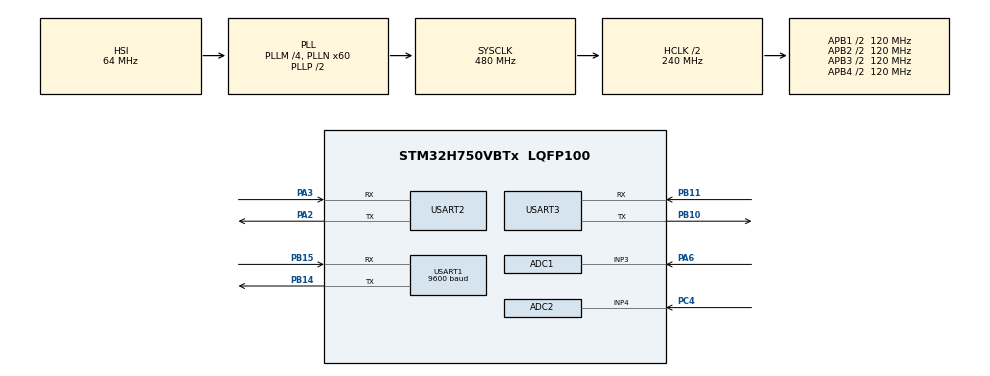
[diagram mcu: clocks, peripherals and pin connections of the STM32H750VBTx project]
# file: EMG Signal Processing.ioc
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ADC1.Channel-2\#ChannelRegularConversion=ADC_CHANNEL_3
ADC1.ContinuousConvMode=ENABLE
ADC1.ConversionDataManagement=ADC_CONVERSIONDATA_DMA_CIRCULAR
ADC1.DMAAccessModeView=ENABLE
ADC1.ExternalTrigConv=ADC_EXTERNALTRIG_T8_TRGO
ADC1.Mode=ADC_DUALMODE_REGSIMULT
ADC1.NbrOfConversionFlag=1
ADC1.OffsetNumber-2\#ChannelRegularConversion=ADC_OFFSET_NONE
ADC1.OffsetSignedSaturation-2\#ChannelRegularConversion=DISABLE
ADC1.Rank-2\#ChannelRegularConversion=1
ADC1.SamplingTime-2\#ChannelRegularConversion=ADC_SAMPLETIME_1CYCLE_5
ADC1.master=1
ADC2.Channel-3\#ChannelRegularConversion=ADC_CHANNEL_4
ADC2.DMAAccessModeView=ENABLE
ADC2.Mode=ADC_DUALMODE_REGSIMULT
ADC2.NbrOfConversionFlag=1
ADC2.OffsetNumber-3\#ChannelRegularConversion=ADC_OFFSET_NONE
ADC2.OffsetSignedSaturation-3\#ChannelRegularConversion=DISABLE
ADC2.Rank-3\#ChannelRegularConversion=1
ADC2.SamplingTime-3\#ChannelRegularConversion=ADC_SAMPLETIME_1CYCLE_5
ADC3.Channel-8\#ChannelRegularConversion=ADC_CHANNEL_VREFINT
ADC3.ContinuousConvMode=ENABLE
ADC3.DMAAccessModeView=ENABLE
ADC3.ExternalTrigConv=ADC_EXTERNALTRIG_T8_TRGO
ADC3.Mode=ADC_DUALMODE_REGSIMULT
ADC3.NbrOfConversionFlag=1
ADC3.OffsetNumber-8\#ChannelRegularConversion=ADC_OFFSET_NONE
ADC3.OffsetSignedSaturation-8\#ChannelRegularConversion=DISABLE
ADC3.Rank-8\#ChannelRegularConversion=1
ADC3.SamplingTime-8\#ChannelRegularConversion=ADC_SAMPLETIME_1CYCLE_5
Bdma.ADC3.0.Direction=DMA_PERIPH_TO_MEMORY
Bdma.ADC3.0.EventEnable=DISABLE
Bdma.ADC3.0.Instance=BDMA_Channel0
Bdma.ADC3.0.MemDataAlignment=DMA_MDATAALIGN_WORD
Bdma.ADC3.0.MemInc=DMA_MINC_ENABLE
Bdma.ADC3.0.Mode=DMA_CIRCULAR
Bdma.ADC3.0.PeriphDataAlignment=DMA_PDATAALIGN_WORD
Bdma.ADC3.0.PeriphInc=DMA_PINC_DISABLE
Bdma.ADC3.0.Polarity=HAL_DMAMUX_REQ_GEN_RISING
Bdma.ADC3.0.Priority=DMA_PRIORITY_LOW
Bdma.ADC3.0.RequestNumber=1
Bdma.ADC3.0.SignalID=NONE
Bdma.ADC3.0.SyncEnable=DISABLE
Bdma.ADC3.0.SyncPolarity=HAL_DMAMUX_SYNC_NO_EVENT
Bdma.ADC3.0.SyncRequestNumber=1
Bdma.ADC3.0.SyncSignalID=NONE
Bdma.Request0=ADC3
Bdma.RequestsNb=1
CORTEX_M7.default_mode_Activation=1
Dma.ADC1.0.Direction=DMA_PERIPH_TO_MEMORY
Dma.ADC1.0.EventEnable=DISABLE
Dma.ADC1.0.FIFOMode=DMA_FIFOMODE_ENABLE
Dma.ADC1.0.FIFOThreshold=DMA_FIFO_THRESHOLD_HALFFULL
Dma.ADC1.0.Instance=DMA1_Stream0
Dma.ADC1.0.MemBurst=DMA_MBURST_SINGLE
Dma.ADC1.0.MemDataAlignment=DMA_MDATAALIGN_WORD
Dma.ADC1.0.MemInc=DMA_MINC_ENABLE
Dma.ADC1.0.Mode=DMA_CIRCULAR
Dma.ADC1.0.PeriphBurst=DMA_PBURST_SINGLE
Dma.ADC1.0.PeriphDataAlignment=DMA_PDATAALIGN_WORD
Dma.ADC1.0.PeriphInc=DMA_PINC_DISABLE
Dma.ADC1.0.Polarity=HAL_DMAMUX_REQ_GEN_RISING
Dma.ADC1.0.Priority=DMA_PRIORITY_LOW
Dma.ADC1.0.RequestNumber=1
Dma.ADC1.0.SignalID=NONE
Dma.ADC1.0.SyncEnable=DISABLE
Dma.ADC1.0.SyncPolarity=HAL_DMAMUX_SYNC_NO_EVENT
Dma.ADC1.0.SyncRequestNumber=1
Dma.ADC1.0.SyncSignalID=NONE
Dma.Request0=ADC1
Mcu.Family=STM32H7
Mcu.Name=STM32H750VBTx
Mcu.Package=LQFP100
NVIC.BDMA_Channel0_IRQn=true\:0\:0\:true\:false\:true\:false\:true\:true
NVIC.DMA1_Stream0_IRQn=true\:0\:0\:false\:false\:true\:false\:true\:true
NVIC.PriorityGroup=NVIC_PRIORITYGROUP_4
NVIC.USART1_IRQn=true\:1\:0\:true\:false\:true\:true\:true\:true
NVIC.USART2_IRQn=true\:1\:0\:true\:false\:true\:true\:true\:true
NVIC.USART3_IRQn=true\:1\:0\:true\:false\:true\:true\:true\:true
PA13\ (JTMS/SWDIO).Mode=Serial_Wire
PA13\ (JTMS/SWDIO).Signal=DEBUG_JTMS-SWDIO
PA14\ (JTCK/SWCLK).Mode=Serial_Wire
PA14\ (JTCK/SWCLK).Signal=DEBUG_JTCK-SWCLK
PA2.Mode=Asynchronous
PA2.Signal=USART2_TX
PA3.Mode=Asynchronous
PA3.Signal=USART2_RX
PA6.Signal=ADCx_INP3
PB10.Mode=Asynchronous
PB10.Signal=USART3_TX
PB11.Mode=Asynchronous
PB11.Signal=USART3_RX
PB14.Mode=Asynchronous
PB14.Signal=USART1_TX
PB15.Mode=Asynchronous
PB15.Signal=USART1_RX
PC4.Signal=ADCx_INP4
PH0-OSC_IN\ (PH0).Mode=HSE-External-Oscillator
PH0-OSC_IN\ (PH0).Signal=RCC_OSC_IN
PH1-OSC_OUT\ (PH1).Mode=HSE-External-Oscillator
PH1-OSC_OUT\ (PH1).Signal=RCC_OSC_OUT
ProjectManager.HeapSize=0x200
ProjectManager.StackSize=0x400
ProjectManager.TargetToolchain=STM32CubeIDE
RCC.ADCFreq_Value=80000000
RCC.APB1Freq_Value=120000000
RCC.APB2Freq_Value=120000000
RCC.APB3Freq_Value=120000000
RCC.APB4Freq_Value=120000000
RCC.CortexFreq_Value=480000000
RCC.D1PPRE=RCC_APB3_DIV2
RCC.D2PPRE1=RCC_APB1_DIV2
RCC.D2PPRE2=RCC_APB2_DIV2
RCC.D3PPRE=RCC_APB4_DIV2
RCC.DIVM1=4
RCC.DIVM2=4
RCC.DIVN1=60
RCC.DIVN2=10
RCC.HCLKFreq_Value=240000000
RCC.HPRE=RCC_HCLK_DIV2
RCC.PLL2FRACN=0
RCC.PLL3FRACN=0
RCC.PLLFRACN=0
RCC.SYSCLKFreq_VALUE=480000000
RCC.SYSCLKSource=RCC_SYSCLKSOURCE_PLLCLK
RCC.USBFreq_Value=480000000
SH.ADCx_INP3.0=ADC1_INP3,IN3-Single-Ended
SH.ADCx_INP4.0=ADC2_INP4,IN4-Single-Ended
TIM8.AutoReloadPreload=TIM_AUTORELOAD_PRELOAD_ENABLE
TIM8.Period=500-1
TIM8.Prescaler=240-1
TIM8.TIM_MasterOutputTrigger=TIM_TRGO_UPDATE
USART1.BaudRate=9600
USART1.VirtualMode-Asynchronous=VM_ASYNC
USART2.VirtualMode-Asynchronous=VM_ASYNC
USART3.VirtualMode-Asynchronous=VM_ASYNC
VP_ADC3_Vref_Input.Mode=IN-Vrefint
VP_MEMORYMAP_VS_MEMORYMAP.Mode=CurAppReg
VP_TIM8_VS_ClockSourceINT.Mode=Internal
board=custom

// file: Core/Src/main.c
/* USER CODE BEGIN Header */
/**
 ******************************************************************************
 * @file           : main.c
 * @brief          : Main program body
 ******************************************************************************
 * @attention
 *
 * Copyright (c) 2025 STMicroelectronics.
 * All rights reserved.
 *
 * This software is licensed under terms that can be found in the LICENSE file
 * in the root directory of this software component.
 * If no LICENSE file comes with this software, it is provided AS-IS.
 *
 ******************************************************************************
 */
/* USER CODE END Header */
#include "main.h"
#include "adc.h"
#include "bdma.h"
#include "dma.h"
#include "tim.h"
#include "usart.h"
#include "gpio.h"

/* USER CODE BEGIN Includes */
#include "arm_math.h"
#include "jy901s.h"
#include "stdio.h"
#include "string.h"
/* USER CODE END Includes */

/* USER CODE BEGIN PD */
#define VREFINT 1.2f  // stm32内部参考电压
#define FFT_POINT 256 // FFT取的点数
#define FS 2000.0     // 采样率
#define PAI 3.1415926f
#define F_MIN 20.0f           // 有效频率下限
#define F_MAX 500.0f          // 有效频率上限

#define FEATURE1 20           //通道一判据
#define FEATURE2 20           //通道二判据
#define FEATURE_BUF 5         //feature_buf缓冲区大小
#define ADC_BUF_LEN FFT_POINT // DMA循环缓冲区长度=FFT点数，避免数据覆盖
#define IIR_STAGES 51         // 二阶节数量
float iir_sos_coeffs[IIR_STAGES * 5] = {
    1.0f, 0.0f, -1.0f, 0.8693764321864266f, -0.9536568122771949f,
    1.0f, 0.0f, -1.0f, 1.9864247945818152f, -0.9950821659378192f,
    1.0f, 0.0f, -1.0f, 0.8321927690588344f, -0.8672413716423795f,
    1.0f, 0.0f, -1.0f, 1.9766845753697753f, -0.9853141721013935f,
    1.0f, 0.0f, -1.0f, 0.7995116982474844f, -0.7884588794031837f,
    1.0f, 0.0f, -1.0f, 1.9670113874654054f, -0.9756280179750199f,
    1.0f, 0.0f, -1.0f, 0.770848011898446f,  -0.716535449340347f,
    1.0f, 0.0f, -1.0f, 1.957395916219848f,  -0.9660142440349393f,
    1.0f, 0.0f, -1.0f, 0.7457813082643308f, -0.6507974014896779f,
    1.0f, 0.0f, -1.0f, 1.9478296799657244f, -0.9564642770692043f,
    1.0f, 0.0f, -1.0f, 0.7239463586093481f, -0.5906576596226908f,
    1.0f, 0.0f, -1.0f, 1.9383052735176061f, -0.9469706669682229f,
    1.0f, 0.0f, -1.0f, 0.7050248651784609f, -0.5356041792878115f,
    1.0f, 0.0f, -1.0f, 1.9288166627628121f, -0.9375273720718309f,
    1.0f, 0.0f, -1.0f, 1.9193595525535816f, -0.9281301144804434f,
    1.0f, 0.0f, -1.0f, 0.6887383685610393f, -0.4851901183749884f,
    1.0f, 0.0f, -1.0f, 1.9099318548941653f, -0.9187768311736749f,
    1.0f, 0.0f, -1.0f, 0.6748420878986934f, -0.4390254967169763f,
    1.0f, 0.0f, -1.0f, 1.9005342908547407f, -0.9094682527833103f,
    1.0f, 0.0f, -1.0f, 0.6631194987885907f, -0.3967701250049715f,
    1.0f, 0.0f, -1.0f, 1.8911711678173693f, -0.9002086494961432f,
    1.0f, 0.0f, -1.0f, 0.6533774704597843f, -0.3581276142251006f,
    1.0f, 0.0f, -1.0f, 1.8818513833778256f, -0.8910067926150773f,
    1.0f, 0.0f, -1.0f, 0.6454417958013445f, -0.3228403039023611f,
    1.0f, 0.0f, -1.0f, 1.8725897176605484f, -0.8818771899701817f,
    1.0f, 0.0f, -1.0f, 0.6391529560301001f, -0.2906849701907506f,
    1.0f, 0.0f, -1.0f, 1.8634084847713721f, -0.872841661545082f,
    1.0f, 0.0f, -1.0f, 0.6343619686491586f, -0.2614691930128323f,
    1.0f, 0.0f, -1.0f, 1.8543396168114308f, -0.8639313237794735f,
    1.0f, 0.0f, -1.0f, 0.6309261780014019f, -0.2350282748009753f,
    1.0f, 0.0f, -1.0f, 1.8454272407358796f, -0.8551890379230934f,
    1.0f, 0.0f, -1.0f, 0.6287048720741699f, -0.2112226116480437f,
    1.0f, 0.0f, -1.0f, 1.8367307617996442f, -0.8466723328984768f,
    1.0f, 0.0f, -1.0f, 0.627554665149167f,  -0.1899354205654527f,
    1.0f, 0.0f, -1.0f, 1.828328357904653f,  -0.8384567085004707f,
    1.0f, 0.0f, -1.0f, 0.6273247031893548f, -0.1710707240891596f,
    1.0f, 0.0f, -1.0f, 1.8203205733050356f, -0.8306390193629837f,
    1.0f, 0.0f, -1.0f, 0.6278519713113898f, -0.154551486646574f,
    1.0f, 0.0f, -1.0f, 1.8128333273942805f, -0.8233402866066106f,
    1.0f, 0.0f, -1.0f, 0.6289573609707806f, -0.1403177890563573f,
    1.0f, 0.0f, -1.0f, 1.8060191003433543f, -0.8167067601196332f,
    1.0f, 0.0f, -1.0f, 0.6304437131227081f, -0.1283249253220003f,
    1.0f, 0.0f, -1.0f, 1.8000544068476896f, -0.8109074411314436f,
    1.0f, 0.0f, -1.0f, 0.6320977081055255f, -0.11854132175107f,
    1.0f, 0.0f, -1.0f, 1.7951312534340129f, -0.8061258863773285f,
    1.0f, 0.0f, -1.0f, 0.6336978921996432f, -0.110946228356801f,
    1.0f, 0.0f, -1.0f, 1.791440768735733f,  -0.8025445900934733f,
    1.0f, 0.0f, -1.0f, 0.6350306397948811f, -0.1055272281685702f,
    1.0f, 0.0f, -1.0f, 1.789149387958497f,  -0.800322321401026f,
    1.0f, 0.0f, -1.0f, 0.6359136608599436f, -0.1022777433785706f,
    1.0f, 0.0f, -1.0f, 1.2122973192286475f, -0.284450719896452f};

const float iir_scale_vals[IIR_STAGES] = {
    0.4804150143471112f, 0.4804150143471112f, 0.4686281482944881f,
    0.4686281482944881f, 0.4577285824460943f, 0.4577285824460943f,
    0.4476494583907268f, 0.4476494583907268f, 0.4383307501573455f,
    0.4383307501573455f, 0.4297185698995845f, 0.4297185698995845f,
    0.421764541012795f,  0.421764541012795f,  0.4144252363555915f,
    0.4144252363555915f, 0.407661677559951f,  0.407661677559951f,
    0.401438890604339f,  0.401438890604339f,  0.3957255125638296f,
    0.3957255125638296f, 0.3904934445236531f, 0.3904934445236531f,
    0.3857175459074069f, 0.3857175459074069f, 0.3813753658378775f,
    0.3813753658378775f, 0.3774469075598798f, 0.3774469075598798f,
    0.3739144223755339f, 0.3739144223755339f, 0.3707622299521401f,
    0.3707622299521401f, 0.3679765622498276f, 0.3679765622498276f,
    0.3655454286749744f, 0.3655454286749744f, 0.363458500394341f,
    0.363458500394341f,  0.3617070120445879f, 0.3617070120445879f,
    0.3602836793443729f, 0.3602836793443729f, 0.359182631364359f,
    0.359182631364359f,  0.35839935643738f,   0.35839935643738f,
    0.3579306609000651f, 0.3579306609000651f, 0.357774640051774f};

float iir_scale_value=1;

// 预处理后的IIR系数（包含增益），格式：[b0*g, b1*g, b2*g, a1, a2]
float scaled_iir_coeffs[IIR_STAGES * 5];

// 陷波滤波器系数（MATLAB生成的直接II型滤波器）
// 单个二阶节，用于FFT前的信号处理
#define NOTCH_STAGES 1 // 陷波滤波器二阶节数量
const float notch_coeffs[NOTCH_STAGES * 5] = {
    // b0, b1, b2, a1, a2
    0.999334363637892630904957513848785310984f,
    -1.974061798642416265536780883849132806063f,
    0.999334363637892630904957513848785310984f,
    1.974061798642416265536780883849132806063f, // 注意：MATLAB的a1取反
    -0.998668727275785261809915027697570621967f // 注意：MATLAB的a2取反
};
/* USER CODE END PD */

/* USER CODE BEGIN PV */
arm_biquad_casd_df1_inst_f32 iir_filter1;
arm_biquad_casd_df1_inst_f32 iir_filter2;
float emg1_filter_state[13 * IIR_STAGES] = {0}; // EMG1滤波状态
float emg2_filter_state[13 * IIR_STAGES] = {0}; // EMG2滤波状态
float emg1_filtered[FFT_POINT] ={0};          // EMG1滤波后数据
float emg2_filtered[FFT_POINT] = {0};          // EMG2滤波后数据

// 陷波滤波器实例和状态
arm_biquad_casd_df1_inst_f32 notch_filter1;
arm_biquad_casd_df1_inst_f32 notch_filter2;
float emg1_notch_state[13 * NOTCH_STAGES] = {0}; // EMG1陷波滤波状态
float emg2_notch_state[13 * NOTCH_STAGES] = {0}; // EMG2陷波滤波状态
float emg1_notch_filtered[FFT_POINT] = {0};     // EMG1陷波滤波后数据
float emg2_notch_filtered[FFT_POINT] = {0};     // EMG2陷波滤波后数据

// 汉明窗缓冲区（使用arm_hamming_f32函数生成）
float hamming_window[FFT_POINT] = {0}; // 汉明窗系数
float hamming_norm = 1.0f;             // 汉明窗归一化因子

uint16_t fft_buf_count = 0; // FFT缓冲区填充计数（0/64/128）

extern arm_cfft_instance_f32 arm_cfft_sR_f32_len128;
extern arm_cfft_instance_f32 arm_cfft_sR_f32_len64;
extern arm_cfft_instance_f32 arm_cfft_sR_f32_len256;

// 手势枚举定义
typedef enum {
  GESTURE_NONE, // 无手势
  GESTURE_FIST, // 握拳
  GESTURE_RIGHT, //
  GESTURE_LEFT //
} Gesture_TypeDef;

// ADC数据缓冲区
uint32_t adc_dual_buf[ADC_BUF_LEN]
    __attribute__((aligned(32))); // 双同步ADC1+ADC2数据
uint32_t adc3_buf[ADC_BUF_LEN] __attribute__((aligned(32)));   // ADC3（VREFINT）数据

// 采样同步标志（为半完成和完成回调分别设置独立标志）
// 半完成回调标志
uint8_t adc_dual_half_done = 0; // 双同步ADC半完成标志
uint8_t adc3_half_done = 0;     // ADC3半完成标志
// 完成回调标志
uint8_t adc_dual_cplt_done = 0; // 双同步ADC完成标志
uint8_t adc3_cplt_done = 0;     // ADC3完成标志

uint32_t values[3];               // ADC读取原始值
float vrefint = 0;                // 校准后参考电压
float voltage1 = 0, voltage2 = 0; // 两路肌电信号

// FFT相关缓冲区 - 32字节对齐以优化CMSIS-DSP性能
float emg1_buf[FFT_POINT]
    __attribute__((aligned(32))) = {0}; // EMG1的256点电压缓冲区
float emg2_buf[FFT_POINT]
    __attribute__((aligned(32))) = {0}; // EMG2的256点电压缓冲区
float fft1_in[2 * FFT_POINT]
    __attribute__((aligned(32))) = {0}; // 浮点FFT输入（实部+虚部，长度2*N）
float fft2_in[2 * FFT_POINT] __attribute__((aligned(32))) = {0};
float fft1_mag[FFT_POINT] __attribute__((aligned(32))) = {0}; // FFT幅值输出
float fft2_mag[FFT_POINT] __attribute__((aligned(32))) = {0};

// 提取到的有效频段特征值
float feature_buf1[FEATURE_BUF]={0};
float feature_buf2[FEATURE_BUF]={0};
float feat1 = 0, feat2 = 0;
Gesture_TypeDef current_gesture = GESTURE_NONE; // 当前识别的手势
char message[100] = "";

float roll=0, pitch=0, yaw=0;       // 姿态角
float acc_x, acc_y, acc_z;    // 加速度
float gyro_x, gyro_y, gyro_z; // 角速度
/* USER CODE END PV */

void SystemClock_Config(void);
void PeriphCommonClock_Config(void);
static void MPU_Config(void);

/* USER CODE BEGIN 0 */
void calc_fft(float *sample_buf, float *fft_in, float *fft_mag, uint16_t N) {
  // 构造FFT输入并应用汉明窗
  for (uint16_t n = 0; n < N; n++) {
    // 应用汉明窗以减少频谱泄漏
    fft_in[2 * n] = sample_buf[n] * hamming_window[n];
    fft_in[2 * n + 1] = 0.0f;
  }
  // 初始化并执行FFT
  arm_cfft_instance_f32 *fft_inst;
  switch (N) {
  case 128:
    fft_inst = &arm_cfft_sR_f32_len128;
    break;
  case 64:
    fft_inst = &arm_cfft_sR_f32_len64;
    break;
  case 256:
    fft_inst = &arm_cfft_sR_f32_len256;
    break;
  default:
    while (1)
      ; // 非法点数，卡死报错
  }
  arm_cfft_f32(fft_inst, fft_in, 0, 1);
  // 计算幅值
  arm_cmplx_mag_f32(fft_in, fft_mag, N);

  // 应用汉明窗归一化因子，补偿窗函数引起的能量损失
  for (uint16_t k = 0; k < N; k++) {
    fft_mag[k] *= hamming_norm;
  }
}

// 提取有效频段的功率谱密度（PSD）特征值
// 功率谱 = 幅值平方，反映频段能量
float extract_feature(float *fft_mag, uint16_t N, float fs, float f_min,
                      float f_max) {
  float sum_power = 0.0f; // 累加功率而非幅值
  // 计算有效频率对应的FFT索引范围
  uint16_t k_min = (uint16_t)(f_min * N / fs);
  uint16_t k_max = (uint16_t)(f_max * N / fs);
  // 边界保护（避免索引越界）
  k_max = (k_max >= N) ? (N - 1) : k_max;
  // 累加有效频段的功率谱密度（幅值平方）
  for (uint16_t k = k_min; k <= k_max; k++) {
    // 功率 = 幅值^2，归一化可选：/N 或 /(N^2)
    float power = fft_mag[k] * fft_mag[k];
    sum_power += power;
  }
  // 返回平均功率密度（可选归一化）
  return sum_power / (float)(k_max - k_min + 1);
}

// 判断手势，待修改
Gesture_TypeDef recognize_gesture(float feat1, float feat2) {
	static int i=0;
	feature_buf1[i]=feat1;
	feature_buf2[i]=feat2;
	i++;
	if((i+1)%FEATURE_BUF==0)
	{
		float sum1=0,sum2=0;
		for(int j=0;j<=i;j++)
		{
			sum1+=feature_buf1[j];
			sum2+=feature_buf2[j];
		}
		sum1=sum1/FEATURE_BUF;
		sum2=sum2/FEATURE_BUF;
		if(sum1>FEATURE1&&sum2>FEATURE2)
		{
			current_gesture=GESTURE_FIST;
		}
		if(sum1>FEATURE1&&sum2<FEATURE2)
		{
			current_gesture=GESTURE_RIGHT;
		}
		if(sum1<FEATURE1&&sum2>FEATURE2)
		{
			current_gesture=GESTURE_LEFT;
		}
		if(sum1<FEATURE1&&sum2<FEATURE2)
		{
			current_gesture=GESTURE_NONE;
		}
		i=0;
	}
  return current_gesture;
}

// 自定义汉明窗初始化函数
void hamming_window_init(void) {
  // 生成汉明窗系数: w[n] = 0.54 - 0.46 * cos(2π * n / (N - 1))
  for (uint16_t n = 0; n < FFT_POINT; n++) {
    float angle = 2.0f * PAI * n / (FFT_POINT - 1);
    hamming_window[n] = 0.54f - 0.46f * arm_cos_f32(angle);
  }

  // 计算归一化因子（用于补偿窗函数引起的能量损失）
  float win_sum = 0.0f;
  for (uint16_t n = 0; n < FFT_POINT; n++) {
    win_sum += hamming_window[n];
  }
  hamming_norm = 2.0f / win_sum;
}

// IIR系数预处理函数：将增益系数应用到SOS系数中，并修正符号约定
// CMSIS-DSP期望格式：[b0, b1, b2, -a1, -a2]
// 如果原始系数来自SciPy等标准工具，需要对a1和a2取反
void iir_coeffs_preprocess(void) {
  for (uint16_t i = 0; i < IIR_STAGES; i++) {
    // b0, b1, b2 乘以对应的增益系数
    scaled_iir_coeffs[i * 5 + 0] =
        iir_sos_coeffs[i * 5 + 0];// * iir_scale_vals[i];
    scaled_iir_coeffs[i * 5 + 1] =
        iir_sos_coeffs[i * 5 + 1];// * iir_scale_vals[i];
    scaled_iir_coeffs[i * 5 + 2] =
        iir_sos_coeffs[i * 5 + 2];// * iir_scale_vals[i];
    // ⚠️ 符号约定修正：CMSIS-DSP需要 -a1 和 -a2（取反）
    // 差分方程：y[n] = b0*x[n] + ... + a1*y[n-1] + a2*y[n-2]
    scaled_iir_coeffs[i * 5 + 3] = -iir_sos_coeffs[i * 5 + 3];
    scaled_iir_coeffs[i * 5 + 4] = -iir_sos_coeffs[i * 5 + 4];
  }
}

// IIR滤波函数：对整帧时域数据滤波
void iir_filter_frame(float *input, float *output, uint16_t len,
                      arm_biquad_casd_df1_inst_f32 *filter) {
  // CMSIS-DSP函数：输入数组、输出数组、长度、滤波器实例
  arm_biquad_cascade_df1_f32(filter, input, output, len);
}

/**
 * @brief  计算重心频率（Frequency Center of Gravity, FCG）
 *         功率加权的平均频率，反映EMG能量集中的频率点
 * @param  fft_mag: FFT幅值数组（输出自arm_cmplx_mag_f32）
 * @param  N: FFT点数（如256）
 * @param  fs: 采样率（如2000.0Hz）
 * @param  f_min: 有效频率下限（如20.0Hz）
 * @param  f_max: 有效频率上限（如500.0Hz）
 * @retval 重心频率值（Hz），出错时返回0.0
 */
float calc_frequency_cg(float *fft_mag, uint16_t N, float fs, float f_min, float f_max)
{
    // 1. 计算有效频率对应的FFT索引范围
    uint16_t k_min = (uint16_t)(f_min * N / fs);
    uint16_t k_max = (uint16_t)(f_max * N / fs);
    // 边界保护：避免索引越界
    k_min = k_min < 0 ? 0 : k_min;
    k_max = k_max >= N ? (N - 1) : k_max;
    if (k_min > k_max) return 0.0f;

    // 2. 累加功率和、频率-功率乘积和
    float sum_power = 0.0f;       // 分母：ΣP(k)
    float sum_freq_power = 0.0f;  // 分子：Σ(f_k * P(k))
    for (uint16_t k = k_min; k <= k_max; k++)
    {
        float f_k = (float)k * fs / N;  // 当前索引对应的实际频率
        float p_k = fft_mag[k] * fft_mag[k];  // 功率谱密度P(k)=|FFT(k)|²
        sum_power += p_k;
        sum_freq_power += f_k * p_k;
    }

    // 3. 避免除以0错误
    if (sum_power < 1e-6f)  // 功率和接近0时返回0
    {
        return 0.0f;
    }

    // 4. 计算重心频率
    return sum_freq_power / sum_power;
}

/**
 * @brief  计算平均频率（Mean Frequency, MF）
 *         有效频率范围内的算术平均频率（与FCG的功率加权区分）
 * @param  fft_mag: FFT幅值数组（仅用于确定有效范围，无功率加权）
 * @param  N: FFT点数（如256）
 * @param  fs: 采样率（如2000.0Hz）
 * @param  f_min: 有效频率下限（如20.0Hz）
 * @param  f_max: 有效频率上限（如500.0Hz）
 * @retval 平均频率值（Hz），出错时返回0.0
 */
float calc_mean_frequency(float *fft_mag, uint16_t N, float fs, float f_min, float f_max)
{
    // 1. 计算有效频率对应的FFT索引范围
    uint16_t k_min = (uint16_t)(f_min * N / fs);
    uint16_t k_max = (uint16_t)(f_max * N / fs);
    // 边界保护：避免索引越界
    k_min = k_min < 0 ? 0 : k_min;
    k_max = k_max >= N ? (N - 1) : k_max;
    if (k_min > k_max) return 0.0f;

    // 2. 累加有效频率的和
    float sum_freq = 0.0f;
    uint16_t m = 0;  // 有效频率点数量
    for (uint16_t k = k_min; k <= k_max; k++)
    {
        float f_k = (float)k * fs / N;  // 当前索引对应的实际频率
        sum_freq += f_k;
        m++;
    }

    // 3. 避免除以0错误
    if (m == 0)
    {
        return 0.0f;
    }

    // 4. 计算算术平均频率
    return sum_freq / (float)m;
}

/**
 * @brief  计算频率均方根（Root Mean Square Frequency, RMSF）
 *         功率加权的频率均方根
 * @param  fft_mag: FFT幅值数组（输出自arm_cmplx_mag_f32）
 * @param  N: FFT点数（如256）
 * @param  fs: 采样率（如2000.0Hz）
 * @param  f_min: 有效频率下限（如20.0Hz）
 * @param  f_max: 有效频率上限（如500.0Hz）
 * @retval 频率均方根值（Hz），出错时返回0.0
 */
float calc_rms_frequency(float *fft_mag, uint16_t N, float fs, float f_min, float f_max)
{
    // 1. 计算有效频率对应的FFT索引范围
    uint16_t k_min = (uint16_t)(f_min * N / fs);
    uint16_t k_max = (uint16_t)(f_max * N / fs);
    // 边界保护：避免索引越界
    k_min = k_min < 0 ? 0 : k_min;
    k_max = k_max >= N ? (N - 1) : k_max;
    if (k_min > k_max) return 0.0f;

    // 2. 累加功率和、频率平方-功率乘积和
    float sum_power = 0.0f;        // 分母：ΣP(k)
    float sum_freq2_power = 0.0f;  // 分子：Σ(f_k² * P(k))
    for (uint16_t k = k_min; k <= k_max; k++)
    {
        float f_k = (float)k * fs / N;  // 当前索引对应的实际频率
        float p_k = fft_mag[k] * fft_mag[k];  // 功率谱密度P(k)=|FFT(k)|²
        sum_power += p_k;
        sum_freq2_power += (f_k * f_k) * p_k;
    }

    // 3. 避免除以0错误
    if (sum_power < 1e-6f)
    {
        return 0.0f;
    }

    // 4. 计算频率均方根
    float rms_freq = sum_freq2_power / sum_power;
    return sqrt(rms_freq);  // 使用CMSIS-DSP的平方根函数（更高效）
}

/**
 * @brief  计算频率标准差（Frequency Standard Deviation, FSD）
 *         功率加权的频率相对于重心频率的离散程度
 * @param  fft_mag: FFT幅值数组（输出自arm_cmplx_mag_f32）
 * @param  N: FFT点数（如256）
 * @param  fs: 采样率（如2000.0Hz）
 * @param  f_min: 有效频率下限（如20.0Hz）
 * @param  f_max: 有效频率上限（如500.0Hz）
 * @retval 频率标准差值（Hz），出错时返回0.0
 */
float calc_freq_standard_deviation(float *fft_mag, uint16_t N, float fs, float f_min, float f_max)
{
    // 1. 先计算重心频率（FCG）
    float fcg = calc_frequency_cg(fft_mag, N, fs, f_min, f_max);
    if (fcg < 1e-6f)  // FCG计算失败时返回0
    {
        return 0.0f;
    }

    // 2. 计算有效频率对应的FFT索引范围
    uint16_t k_min = (uint16_t)(f_min * N / fs);
    uint16_t k_max = (uint16_t)(f_max * N / fs);
    // 边界保护：避免索引越界
    k_min = k_min < 0 ? 0 : k_min;
    k_max = k_max >= N ? (N - 1) : k_max;
    if (k_min > k_max) return 0.0f;

    // 3. 累加功率和、(f_k - FCG)²-功率乘积和
    float sum_power = 0.0f;                     // 分母：ΣP(k)
    float sum_freq_diff2_power = 0.0f;         // 分子：Σ((f_k - FCG)² * P(k))
    for (uint16_t k = k_min; k <= k_max; k++)
    {
        float f_k = (float)k * fs / N;  // 当前索引对应的实际频率
        float p_k = fft_mag[k] * fft_mag[k];  // 功率谱密度P(k)=|FFT(k)|²
        float freq_diff = f_k - fcg;
        sum_power += p_k;
        sum_freq_diff2_power += (freq_diff * freq_diff) * p_k;
    }

    // 4. 避免除以0错误
    if (sum_power < 1e-6f)
    {
        return 0.0f;
    }

    // 5. 计算频率标准差
    float fsd = sum_freq_diff2_power / sum_power;
    return sqrt(fsd);  // 使用CMSIS-DSP的平方根函数（更高效）
}

// 处理DMA缓冲区的半帧数据（双缓冲模式）
// buf_start: 缓冲区起始索引（0或64）
// len: 处理长度（通常为64）
void process_adc_half_buffer(uint16_t buf_start, uint16_t len) {
  // 边界检查
  if (buf_start + len > ADC_BUF_LEN)
    return;

  // 处理半帧数据
  for (uint16_t i = 0; i < len; i++) {
    uint16_t buf_idx = buf_start + i;     // DMA缓冲区索引
    uint16_t fft_idx = fft_buf_count + i; // FFT缓冲区索引

    // 1. 解析双同步ADC数据（低16=ADC1，高16=ADC2）
    uint32_t dual_data = adc_dual_buf[buf_idx];
    uint16_t adc1_val = (uint16_t)(dual_data & 0xFFFF); // 低16位=ADC1
    uint16_t adc2_val = (uint16_t)(dual_data >> 16);    // 高16位=ADC2
    uint16_t adc3_val = adc3_buf[buf_idx];              // ADC3数据

    // 2. 计算校准后电压（VREFINT校准）
    float vrefint_temp =
        VREFINT * (4095.0f / (float)adc3_val); // 12位ADC满量程4095

    vrefint_temp =3.3;

    float voltage1_temp = ((float)adc1_val / 4095.0f) * vrefint_temp;
    float voltage2_temp = ((float)adc2_val / 4095.0f) * vrefint_temp;

    // 3. 存储到EMG缓冲区（用于后续FFT）
    if (fft_idx < FFT_POINT) // 额外的边界保护
    {
      emg1_buf[fft_idx] = voltage1_temp;
      emg2_buf[fft_idx] = voltage2_temp;
    }
  }

  // 4. 更新FFT缓冲区计数
  fft_buf_count += len;

  // 5. 满128点触发FFT和滤波
  if (fft_buf_count >= FFT_POINT) {
    // IIR滤波
	  arm_biquad_cascade_df1_f32(&iir_filter1, emg1_buf, emg1_filtered, FFT_POINT);
	  arm_biquad_cascade_df1_f32(&iir_filter2, emg2_buf, emg2_filtered, FFT_POINT);
    //iir_filter_frame(emg1_buf, emg1_filtered, FFT_POINT, &iir_filter1);
    //iir_filter_frame(emg2_buf, emg2_filtered, FFT_POINT, &iir_filter2);
	  for(int i=0;i<256;i++)
	      {
	      	emg1_filtered[i]=emg1_filtered[i]*(iir_scale_value*1000);
	      	emg2_filtered[i]=emg2_filtered[i]*(iir_scale_value*1000);
	      }
    // 陷波滤波（在IIR滤波之后，FFT之前）
    iir_filter_frame(emg1_filtered, emg1_notch_filtered, FFT_POINT,
                     &notch_filter1);
    iir_filter_frame(emg2_filtered, emg2_notch_filtered, FFT_POINT,
                     &notch_filter2);

    // FFT运算（使用陷波滤波后的数据）
    calc_fft(emg1_notch_filtered, fft1_in, fft1_mag,
             FFT_POINT); // EMG1 陷波滤波后FFT
    calc_fft(emg2_notch_filtered, fft2_in, fft2_mag,
             FFT_POINT); // EMG2 陷波滤波后FFT

    feat1=extract_feature(fft1_mag, FFT_POINT, FS, F_MIN, F_MAX);
    feat2=extract_feature(fft2_mag, FFT_POINT, FS, F_MIN, F_MAX);
    sprintf(message,"%d",recognize_gesture(feat1, feat2));

    //HAL_UART_Transmit(&huart2, (uint8_t*)"1", sizeof("1"),100);
    //sprintf(message,"%.2f",fft1_mag[255]);
    HAL_UART_Transmit(&huart2, (uint8_t*)message, strlen(message), 100);
    //HAL_UART_Transmit(&huart2, (uint8_t*)"\n", strlen("\n"), 100);
    //HAL_UART_Transmit(&huart2, (uint8_t*)"success", sizeof("success"), 100);

    ///////

    // 重置计数+清空缓冲区（准备下一轮采样）
    fft_buf_count = 0;
    memset(emg1_buf, 0, sizeof(emg1_buf));
    memset(emg2_buf, 0, sizeof(emg2_buf));
    // 注意:同步标志在各自回调函数中重置,此处不需要
  }
}

// DMA传输完成回调(处理缓冲区后半部分:索引128-255)
void HAL_ADC_ConvCpltCallback(ADC_HandleTypeDef *hadc) {
  // ✅ 同步等待 ADC1 和 ADC3 的 DMA 都完成后再处理
  // 避免 ADC1 先完成时 ADC3 数据还未写入的问题
	//HAL_UART_Transmit(&huart2, (uint8_t*)"success", sizeof("success"), 100);
  if (hadc == &hadc1) {
    adc_dual_cplt_done = 1; // 使用完成回调专用标志
  }
  if (hadc == &hadc3) {
    adc3_cplt_done = 1; // 使用完成回调专用标志
  }
  // 两个 DMA 都完成后才处理缓冲区后半部分(128-255)

  //!!!!!!!!!!!!!!!!!!!!!!!!!!!!!!!!!!!!!!!!!!!!!!!!!!!!!!!
  //if (adc_dual_cplt_done == 1 && adc3_cplt_done == 1)
  if (adc_dual_cplt_done == 1 )
  {
    process_adc_half_buffer(FFT_POINT / 2, FFT_POINT / 2);
    // ✅ 立即重置标志,为下次回调做准备
    adc_dual_cplt_done = 0;
    adc3_cplt_done = 0;
  }
}

// DMA传输半完成回调(处理缓冲区前半部分:索引0-127)
void HAL_ADC_ConvHalfCpltCallback(ADC_HandleTypeDef *hadc) {
  // ✅ 同步等待 ADC1 和 ADC3 的 DMA 都半完成后再处理
  // 避免 ADC1 先半完成时 ADC3 数据还未写入的问题
	//HAL_UART_Transmit(&huart2, (uint8_t*)"success", sizeof("success"), 100);
  if (hadc == &hadc1) {
	  //HAL_UART_Transmit(&huart2, (uint8_t*)"success", sizeof("success"), 100);
    adc_dual_half_done = 1; // 使用半完成回调专用标志
  }
  if (hadc == &hadc3) {
	  //HAL_UART_Transmit(&huart2, (uint8_t*)"success", sizeof("success"), 100);
    adc3_half_done = 1; // 使用半完成回调专用标志
  }
  // 两个 DMA 都半完成后才处理缓冲区前半部分(0-127)
  //if (adc_dual_half_done == 1 && adc3_half_done == 1)
  if (adc_dual_half_done == 1)
  {
	  //HAL_UART_Transmit(&huart2, (uint8_t*)"success", sizeof("success"), 100);
    process_adc_half_buffer(0, FFT_POINT / 2);
    // ✅ 立即重置标志,为下次回调做准备
    adc_dual_half_done = 0;
    adc3_half_done = 0;
  }
}
/* USER CODE END 0 */

int main(void)
{

  /* MPU Configuration--------------------------------------------------------*/
  MPU_Config();

  /* MCU Configuration--------------------------------------------------------*/

  /* Reset of all peripherals, Initializes the Flash interface and the Systick. */
  HAL_Init();

  /* Configure the system clock */
  SystemClock_Config();

  /* Configure the peripherals common clocks */
  PeriphCommonClock_Config();

  /* Initialize all configured peripherals */
  MX_GPIO_Init();
  MX_DMA_Init();
  MX_BDMA_Init();
  MX_ADC3_Init();
  MX_USART1_UART_Init();
  MX_USART2_UART_Init();
  MX_USART3_UART_Init();
  MX_ADC1_Init();
  MX_ADC2_Init();
  MX_TIM8_Init();
  /* USER CODE BEGIN 2 */
  //JY901S_Init();
  //JY901S_AccCalibrate(); // 加速度计校准
  //JY901S_MagCalibrate(); // 磁力计校准

  HAL_ADCEx_Calibration_Start(&hadc1, ADC_CALIB_OFFSET_LINEARITY,
                              ADC_SINGLE_ENDED);
  HAL_ADCEx_Calibration_Start(&hadc2, ADC_CALIB_OFFSET_LINEARITY,
                              ADC_SINGLE_ENDED);
  HAL_ADCEx_Calibration_Start(&hadc3, ADC_CALIB_OFFSET_LINEARITY,
                              ADC_SINGLE_ENDED);

  // ⚠️ 关键：先初始化IIR滤波器，再启动ADC DMA
  // 预处理IIR系数（将增益系数应用到SOS系数中，并修正符号）
  for(int i=0;i<IIR_STAGES;i++)
  {
	  iir_scale_value*=iir_scale_vals[i];
  }

  //iir_coeffs_preprocess();

  // 使用预处理后的系数初始化IIR滤波器
  arm_biquad_cascade_df1_init_f32(&iir_filter1, IIR_STAGES, iir_sos_coeffs,
                                  emg1_filter_state);
  arm_biquad_cascade_df1_init_f32(&iir_filter2, IIR_STAGES, iir_sos_coeffs,
                                  emg2_filter_state);

  // 初始化陷波滤波器（使用常量系数）
  arm_biquad_cascade_df1_init_f32(&notch_filter1, NOTCH_STAGES, notch_coeffs,
                                  emg1_notch_state);
  arm_biquad_cascade_df1_init_f32(&notch_filter2, NOTCH_STAGES, notch_coeffs,
                                  emg2_notch_state);

  // 生成汉明窗系数（使用自定义函数）
  hamming_window_init();

  HAL_Delay(3000);
  // 启动ADC DMA采样（滤波器已初始化完成）
  HAL_ADC_Start_DMA(&hadc3, adc3_buf, FFT_POINT);
  HAL_Delay(10);
  HAL_ADCEx_MultiModeStart_DMA(&hadc1, adc_dual_buf, FFT_POINT);
  HAL_Delay(10);

  // 启动定时器触发ADC采样
    HAL_TIM_Base_Start(&htim8);

  /* USER CODE END 2 */

  /* Infinite loop */
  /* USER CODE BEGIN WHILE */
  while (1) {
    //JY901S_GetAttitude(&roll, &pitch, &yaw);         // 获取姿态角
    //JY901S_GetAccelerometer(&acc_x, &acc_y, &acc_z); // 获取加速度
    //JY901S_GetGyroscope(&gyro_x, &gyro_y, &gyro_z);  // 获取角速度
    //sprintf(message,"%.2f,%.2f,%.2f\n",roll,pitch,yaw);
    //HAL_UART_Transmit(&huart2, (uint8_t*)message, strlen(message), 100);
    //HAL_UART_Transmit(&huart2, (uint8_t*)"1", sizeof("1"),100);
    HAL_Delay(10);
    /* USER CODE END WHILE */

  }
}

void SystemClock_Config(void)
{
  RCC_OscInitTypeDef RCC_OscInitStruct = {0};
  RCC_ClkInitTypeDef RCC_ClkInitStruct = {0};

  /** Supply configuration update enable
  */
  HAL_PWREx_ConfigSupply(PWR_LDO_SUPPLY);

  /** Configure the main internal regulator output voltage
  */
  __HAL_PWR_VOLTAGESCALING_CONFIG(PWR_REGULATOR_VOLTAGE_SCALE0);

  while(!__HAL_PWR_GET_FLAG(PWR_FLAG_VOSRDY)) {}

  /** Initializes the RCC Oscillators according to the specified parameters
  * in the RCC_OscInitTypeDef structure.
  */
  RCC_OscInitStruct.OscillatorType = RCC_OSCILLATORTYPE_HSI;
  RCC_OscInitStruct.HSIState = RCC_HSI_DIV1;
  RCC_OscInitStruct.HSICalibrationValue = RCC_HSICALIBRATION_DEFAULT;
  RCC_OscInitStruct.PLL.PLLState = RCC_PLL_ON;
  RCC_OscInitStruct.PLL.PLLSource = RCC_PLLSOURCE_HSI;
  RCC_OscInitStruct.PLL.PLLM = 4;
  RCC_OscInitStruct.PLL.PLLN = 60;
  RCC_OscInitStruct.PLL.PLLP = 2;
  RCC_OscInitStruct.PLL.PLLQ = 2;
  RCC_OscInitStruct.PLL.PLLR = 2;
  RCC_OscInitStruct.PLL.PLLRGE = RCC_PLL1VCIRANGE_3;
  RCC_OscInitStruct.PLL.PLLVCOSEL = RCC_PLL1VCOWIDE;
  RCC_OscInitStruct.PLL.PLLFRACN = 0;
  if (HAL_RCC_OscConfig(&RCC_OscInitStruct) != HAL_OK)
  {
    Error_Handler();
  }

  /** Initializes the CPU, AHB and APB buses clocks
  */
  RCC_ClkInitStruct.ClockType = RCC_CLOCKTYPE_HCLK|RCC_CLOCKTYPE_SYSCLK
                              |RCC_CLOCKTYPE_PCLK1|RCC_CLOCKTYPE_PCLK2
                              |RCC_CLOCKTYPE_D3PCLK1|RCC_CLOCKTYPE_D1PCLK1;
  RCC_ClkInitStruct.SYSCLKSource = RCC_SYSCLKSOURCE_PLLCLK;
  RCC_ClkInitStruct.SYSCLKDivider = RCC_SYSCLK_DIV1;
  RCC_ClkInitStruct.AHBCLKDivider = RCC_HCLK_DIV2;
  RCC_ClkInitStruct.APB3CLKDivider = RCC_APB3_DIV2;
  RCC_ClkInitStruct.APB1CLKDivider = RCC_APB1_DIV2;
  RCC_ClkInitStruct.APB2CLKDivider = RCC_APB2_DIV2;
  RCC_ClkInitStruct.APB4CLKDivider = RCC_APB4_DIV2;

  if (HAL_RCC_ClockConfig(&RCC_ClkInitStruct, FLASH_LATENCY_4) != HAL_OK)
  {
    Error_Handler();
  }
}

void PeriphCommonClock_Config(void)
{
  RCC_PeriphCLKInitTypeDef PeriphClkInitStruct = {0};

  /** Initializes the peripherals clock
  */
  PeriphClkInitStruct.PeriphClockSelection = RCC_PERIPHCLK_ADC;
  PeriphClkInitStruct.PLL2.PLL2M = 4;
  PeriphClkInitStruct.PLL2.PLL2N = 10;
  PeriphClkInitStruct.PLL2.PLL2P = 2;
  PeriphClkInitStruct.PLL2.PLL2Q = 2;
  PeriphClkInitStruct.PLL2.PLL2R = 2;
  PeriphClkInitStruct.PLL2.PLL2RGE = RCC_PLL2VCIRANGE_3;
  PeriphClkInitStruct.PLL2.PLL2VCOSEL = RCC_PLL2VCOMEDIUM;
  PeriphClkInitStruct.PLL2.PLL2FRACN = 0;
  PeriphClkInitStruct.AdcClockSelection = RCC_ADCCLKSOURCE_PLL2;
  if (HAL_RCCEx_PeriphCLKConfig(&PeriphClkInitStruct) != HAL_OK)
  {
    Error_Handler();
  }
}

 /* MPU Configuration */

void MPU_Config(void)
{
  MPU_Region_InitTypeDef MPU_InitStruct = {0};

  /* Disables the MPU */
  HAL_MPU_Disable();

  /** Initializes and configures the Region and the memory to be protected
  */
  MPU_InitStruct.Enable = MPU_REGION_ENABLE;
  MPU_InitStruct.Number = MPU_REGION_NUMBER0;
  MPU_InitStruct.BaseAddress = 0x0;
  MPU_InitStruct.Size = MPU_REGION_SIZE_4GB;
  MPU_InitStruct.SubRegionDisable = 0x87;
  MPU_InitStruct.TypeExtField = MPU_TEX_LEVEL0;
  MPU_InitStruct.AccessPermission = MPU_REGION_NO_ACCESS;
  MPU_InitStruct.DisableExec = MPU_INSTRUCTION_ACCESS_DISABLE;
  MPU_InitStruct.IsShareable = MPU_ACCESS_SHAREABLE;
  MPU_InitStruct.IsCacheable = MPU_ACCESS_NOT_CACHEABLE;
  MPU_InitStruct.IsBufferable = MPU_ACCESS_NOT_BUFFERABLE;

  HAL_MPU_ConfigRegion(&MPU_InitStruct);
  /* Enables the MPU */
  HAL_MPU_Enable(MPU_PRIVILEGED_DEFAULT);

}

void Error_Handler(void)
{
  __disable_irq();
  while (1) {
  }
}
#ifdef USE_FULL_ASSERT
/**
  * @brief  Reports the name of the source file and the source line number
  *         where the assert_param error has occurred.
  * @param  file: pointer to the source file name
  * @param  line: assert_param error line source number
  * @retval None
  */
void assert_failed(uint8_t *file, uint32_t line)
{
  /* USER CODE BEGIN 6 */
  /* User can add his own implementation to report the file name and line
     number, ex: printf("Wrong parameters value: file %s on line %d\r\n", file,
     line) */
  /* USER CODE END 6 */
}
#endif /* USE_FULL_ASSERT */
